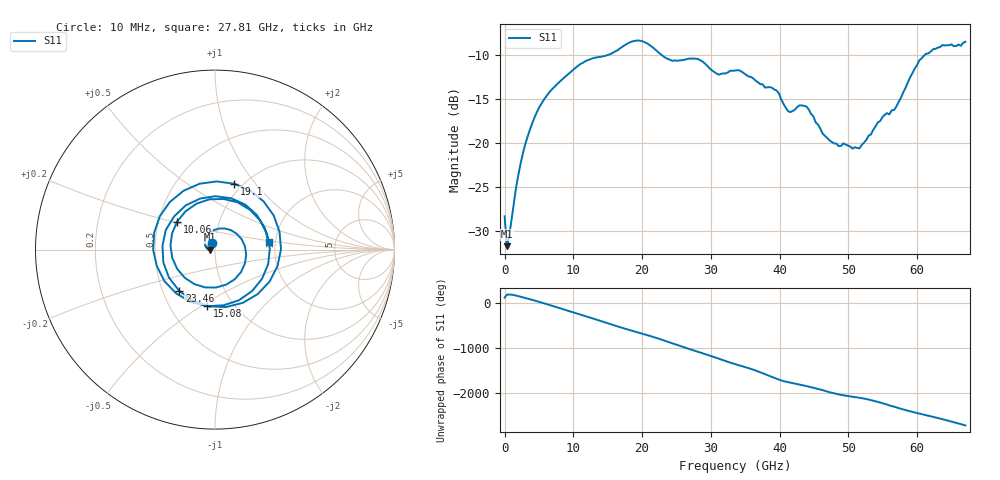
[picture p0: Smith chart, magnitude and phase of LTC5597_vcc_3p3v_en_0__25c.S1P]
!  1-Port S-parameters saved by WinCal
! VAR MeasName=S-Parameters (CALIBRATED_DATA) read from VNA (N5247B)
! VAR MeasDate=4/19/2019 9:39:01 AM
! VAR NAME=Measurement 4
! VAR FILENAME=LTC5597_vcc_3p3v_en_0_sn8_25c.S1P
! VAR DATE=4/19/2019 9:39:01 AM
! VAR PHYS_PORTS=1
# Hz S DB R 50
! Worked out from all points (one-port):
!   201 points, 10 MHz to 67 GHz, reference 50 ohm
!   lowest |S11| = -31.7 dB at 344.9 MHz (marker M1), VSWR 1.05, Z = 47.5 - j0.0376 ohm
!   |S11| at or under -10 dB: start of sweep to 14.96 GHz; 22.87 GHz to 61.07 GHz (38.19 GHz wide, 91 % of centre)
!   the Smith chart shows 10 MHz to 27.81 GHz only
!   S11 on the Smith chart (normalised r, x): 10 MHz: 0.97, +0.07; 10.06 GHz: 0.62, +0.21; 15.08 GHz: 0.76, -0.53; 19.1 GHz: 0.92, +0.79; 23.46 GHz: 0.61, -0.31; 27.81 GHz: 1.84, +0.17
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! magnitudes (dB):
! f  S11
! 10 MHz  -28.3
! 344.9 MHz  -31.7
! 679.9 MHz  -30.6
! 2.02 GHz  -23.6
! 3.36 GHz  -19.2
! 5.369 GHz  -15.5
! 8.384 GHz  -12.8
! 10.06 GHz  -11.6
! 15.08 GHz  -10.0
! 16.76 GHz  -9.3
! 19.1 GHz  -8.4
! 23.46 GHz  -10.3
! 25.13 GHz  -10.7
! 27.81 GHz  -10.4
! 31.16 GHz  -12.2
! 33.51 GHz  -11.7
! 39.53 GHz  -14.0
! 41.21 GHz  -16.4
! 41.88 GHz  -16.3
! 43.89 GHz  -15.8
! 47.24 GHz  -19.7
! 50.25 GHz  -20.4
! 51.59 GHz  -20.6
! 54.94 GHz  -17.0
! 56.62 GHz  -16.2
! 58.63 GHz  -13.1
! 61.31 GHz  -9.8
! 67 GHz  -8.5
